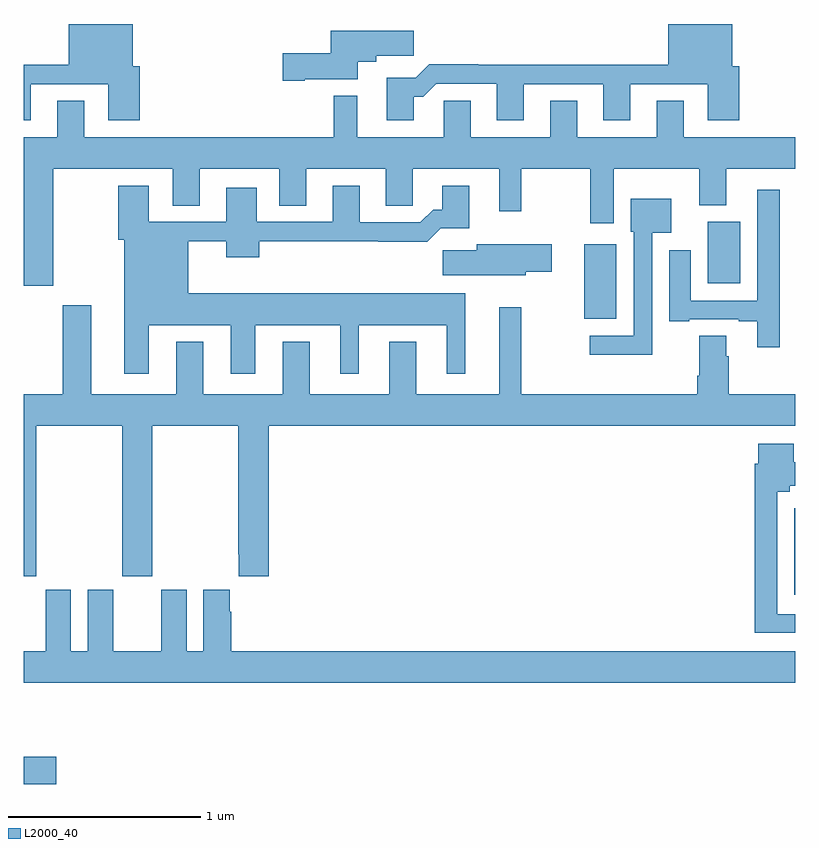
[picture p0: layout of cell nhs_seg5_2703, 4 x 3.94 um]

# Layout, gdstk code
import gdstk
lib = gdstk.Library(unit=1e-6, precision=1e-09)
def R(c, l, rs):  # rectangles x0, y0, x1, y1
    for r in rs: c.add(gdstk.rectangle(r[:2], r[2:], *l))
def P(c, l, *ps):  # polygons
    for p in ps: c.add(gdstk.Polygon(p, *l))
L2000_40 = (2000, 40)

nhs_seg5_2703 = lib.new_cell('nhs_seg5_2703')
R(nhs_seg5_2703, L2000_40, [(267,898.859,267.169,899.001), (270.995,899.841,271,900.289), (269.906,901.271,270.073,901.657), (270.545,901.454,270.715,901.774)])
P(nhs_seg5_2703, L2000_40, [(267.037,902.487),(267.437,902.487),(267.437,902.301),(267.602,902.301),(267.602,902.58),(267.565,902.58),(267.565,902.799),(267.233,902.799),(267.233,902.588),(267,902.588),(267,902.301),(267.037,902.301)],
  [(269.023,902.423),(269.072,902.423),(269.139,902.49),(269.453,902.49),(269.453,902.301),(269.593,902.301),(269.593,902.487),(270.005,902.487),(270.005,902.301),(270.145,902.301),(270.145,902.487),(270.545,902.487),(270.545,902.301),(270.71,902.301),(270.71,902.58),(270.673,902.58),(270.673,902.799),(270.341,902.799),(270.341,902.588),(269.357,902.588),(269.357,902.591),(269.102,902.591),(269.032,902.521),(268.883,902.521),(268.883,902.301),(269.023,902.301)],
  [(268.456,902.513),(268.732,902.513),(268.732,902.603),(268.828,902.603),(268.828,902.635),(269.023,902.635),(269.023,902.764),(268.592,902.764),(268.592,902.648),(268.344,902.648),(268.344,902.506),(268.456,902.506)],
  [(267.154,902.048),(267.773,902.048),(267.773,901.858),(267.913,901.858),(267.913,902.048),(268.325,902.048),(268.325,901.858),(268.465,901.858),(268.465,902.048),(268.877,902.048),(268.877,901.858),(269.016,901.858),(269.016,902.048),(269.465,902.048),(269.465,901.827),(269.579,901.827),(269.579,902.048),(269.938,902.048),(269.938,901.767),(270.058,901.767),(270.058,902.048),(270.503,902.048),(270.503,901.859),(270.643,901.859),(270.643,902.048),(271,902.048),(271,902.212),(270.421,902.212),(270.421,902.402),(270.281,902.402),(270.281,902.212),(269.869,902.212),(269.869,902.402),(269.729,902.402),(269.729,902.212),(269.317,902.212),(269.317,902.402),(269.178,902.402),(269.178,902.212),(268.729,902.212),(268.729,902.428),(268.608,902.428),(268.608,902.212),(267.313,902.212),(267.313,902.402),(267.173,902.402),(267.173,902.212),(267,902.212),(267,901.442),(267.154,901.442)],
  [(267.649,901.238),(268.073,901.238),(268.073,900.987),(268.201,900.987),(268.201,901.238),(268.64,901.238),(268.64,900.987),(268.738,900.987),(268.738,901.238),(269.192,901.238),(269.192,900.987),(269.29,900.987),(269.29,901.402),(267.853,901.402),(267.853,901.672),(268.049,901.672),(268.049,901.589),(268.22,901.589),(268.22,901.672),(268.837,901.672),(268.837,901.67),(269.093,901.67),(269.162,901.739),(269.311,901.739),(269.311,901.96),(269.171,901.96),(269.171,901.837),(269.122,901.837),(269.055,901.77),(268.741,901.77),(268.741,901.96),(268.601,901.96),(268.601,901.773),(268.207,901.773),(268.207,901.951),(268.049,901.951),(268.049,901.773),(267.649,901.773),(267.649,901.96),(267.49,901.96),(267.49,901.68),(267.521,901.68),(267.521,900.987),(267.649,900.987)],
  [(270.92,901.939),(270.804,901.939),(270.804,901.365),(270.457,901.365),(270.457,901.627),(270.347,901.627),(270.347,901.257),(270.451,901.257),(270.451,901.269),(270.707,901.269),(270.707,901.257),(270.803,901.257),(270.803,901.122),(270.92,901.122)],
  [(270.258,901.718),(270.358,901.718),(270.358,901.894),(270.146,901.894),(270.146,901.722),(270.162,901.722),(270.162,901.182),(269.934,901.182),(269.934,901.085),(270.258,901.085)],
  [(269.602,901.514),(269.737,901.514),(269.737,901.657),(269.348,901.657),(269.348,901.625),(269.172,901.625),(269.172,901.496),(269.602,901.496)],
  [(267.066,900.716),(267.511,900.716),(267.511,899.937),(267.666,899.937),(267.666,900.716),(268.111,900.716),(268.111,900.049),(268.115,900.049),(268.115,899.937),(268.271,899.937),(268.271,900.716),(271,900.716),(271,900.88),(270.656,900.88),(270.656,901.076),(270.643,901.076),(270.643,901.184),(270.503,901.184),(270.503,900.976),(270.491,900.976),(270.491,900.88),(269.579,900.88),(269.579,901.33),(269.465,901.33),(269.465,900.88),(269.035,900.88),(269.035,901.153),(268.895,901.153),(268.895,900.88),(268.483,900.88),(268.483,901.153),(268.343,901.153),(268.343,900.88),(267.931,900.88),(267.931,901.153),(267.791,901.153),(267.791,900.88),(267.349,900.88),(267.349,901.342),(267.202,901.342),(267.202,900.88),(267,900.88),(267,899.937),(267.066,899.937)],
  [(271,899.739),(270.906,899.739),(270.906,900.374),(270.972,900.374),(270.972,900.404),(271,900.404),(271,900.528),(270.991,900.528),(270.991,900.622),(270.809,900.622),(270.809,900.518),(270.79,900.518),(270.79,899.643),(271,899.643)],
  [(271,899.548),(268.076,899.548),(268.076,899.753),(268.069,899.753),(268.069,899.866),(267.932,899.866),(267.932,899.548),(267.844,899.548),(267.844,899.866),(267.713,899.866),(267.713,899.548),(267.463,899.548),(267.463,899.866),(267.332,899.866),(267.332,899.548),(267.244,899.548),(267.244,899.866),(267.113,899.866),(267.113,899.548),(267,899.548),(267,899.384),(271,899.384)])

lib.write_gds('nhs_seg5_2703.gds')
